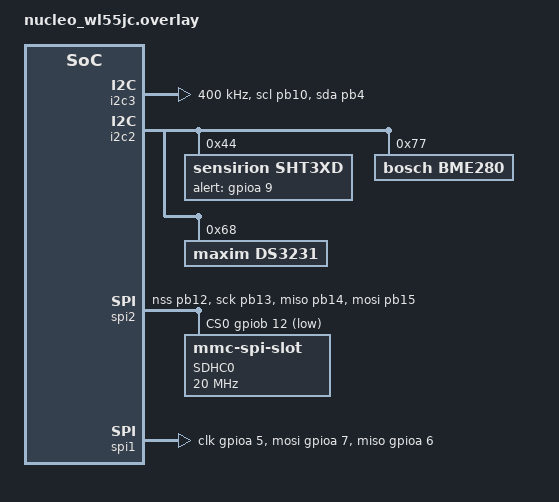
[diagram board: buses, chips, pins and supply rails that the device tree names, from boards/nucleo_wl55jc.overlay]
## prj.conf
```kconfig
CONFIG_HEAP_MEM_POOL_SIZE=8192
CONFIG_MAIN_STACK_SIZE=2048
CONFIG_SYSTEM_WORKQUEUE_STACK_SIZE=2048



CONFIG_LOG=y
CONFIG_SPI=y
CONFIG_SPI_STM32=y

CONFIG_SPI_BITBANG=y

CONFIG_GPIO=y
CONFIG_LORA=y
CONFIG_LORA_SX12XX=y
CONFIG_LORAWAN=y
#CONFIG_LORAMAC_REGION_EU868=y
CONFIG_LORAMAC_REGION_US915=y
CONFIG_MAIN_STACK_SIZE=2048


#CONFIG_NEWLIB_LIBC=y // CRASHES LORA

CONFIG_LOG_DEFAULT_LEVEL=4

CONFIG_STDOUT_CONSOLE=y
CONFIG_CBPRINTF_FP_SUPPORT=y
CONFIG_CBPRINTF_LIBC_SUBSTS=y


CONFIG_I2C=y
CONFIG_SENSOR=y
CONFIG_SHT3XD=y
CONFIG_BME280=y

CONFIG_COUNTER=y
CONFIG_COUNTER_MAXIM_DS3231=y

CONFIG_DISK_ACCESS=y
CONFIG_FILE_SYSTEM=y
CONFIG_FAT_FILESYSTEM_ELM=y
CONFIG_DISK_DRIVER_SDMMC=y


CONFIG_LOG=y



CONFIG_COUNTER_INIT_PRIORITY=65
```

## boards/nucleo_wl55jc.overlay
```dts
// intenta SDA en PC1 (CN10-23) y CLK en PC0 (CN10-14)
&i2c3 {
        pinctrl-names = "default";
	pinctrl-0 = <&i2c3_scl_pb10 &i2c3_sda_pb4>;	
	status = "okay";
	clock-frequency = <I2C_BITRATE_FAST>;
};

&i2c2 {
pinctrl-names = "default";
	sht3xd@44 {
		compatible = "sensirion,sht3xd";
		reg = <0x44>;
		label = "SHT3XD";
		alert-gpios = <&gpioa 9 GPIO_ACTIVE_HIGH>;
	};
	bme280: bme280@77 {
		compatible = "bosch,bme280";
		reg = <0x77>;
		label = "BME280";
	};

        ds3231: ds3231@68 {
		compatible = "maxim,ds3231";
		reg = <0x68>;
		label = "DS3231";
		//isw-gpios = <&gpioe 26 (GPIO_PULL_UP | GPIO_ACTIVE_LOW)>;
	};


};



&spi2 {
        pinctrl-names = "default";
	pinctrl-0 = <&spi2_nss_pb12     // Morpho CN10-33
                     &spi2_sck_pb13     // Morpho CN7-38
		     &spi2_miso_pb14    // Morpho CN7-36
                     &spi2_mosi_pb15>;  // Morpho CN10-28
	status = "okay";

        cs-gpios = <&gpiob 12 GPIO_ACTIVE_LOW>;	// Morpho CN10-33


        sdhc0: sdhc@0 {
            compatible = "zephyr,mmc-spi-slot";
            reg = <0>;
            status = "okay";
            label = "SDHC0";
            spi-max-frequency = <20000000>;
        };

};

&spi1 {
		label = "OPC";
		compatible = "zephyr,spi-bitbang";
		status="okay";
		#address-cells = <1>;
		#size-cells = <0>;
		clk-gpios = <&gpioa 5 GPIO_ACTIVE_HIGH>;
		mosi-gpios = <&gpioa 7 GPIO_ACTIVE_HIGH>;
		miso-gpios = <&gpioa 6 0>;
		cs-gpios = <&gpioa 4 GPIO_ACTIVE_LOW>;
};
```

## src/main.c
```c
/*
 * Class A LoRaWAN AirLab Sensor Application
 *
 * 
 */

#include <device.h>
#include <drivers/sensor.h>

#include <zephyr.h>
#include <drivers/i2c.h>
#include <drivers/display.h>
#include <drivers/rtc/maxim_ds3231.h>
#include <storage/disk_access.h>
#include <fs/fs.h>
#include <ff.h>
#include <lorawan/lorawan.h>
#include <drivers/gpio.h>
#include <drivers/spi.h>
#include <string.h>
#include "file_system.h"
#include "time_system.h"

#include "global_devices.h"
#include "opc.h"
#include "ambient_sensors.h"
#include "gas_sensors.h"



/* size of stack area used by each thread */
#define STACKSIZE 4096
#define DELAY K_MSEC(5000)


/* * * * * * * * * * Logging  * * * * * * * * * * */
#define LOG_LEVEL CONFIG_LOG_DEFAULT_LEVEL
#include <logging/log.h>
LOG_MODULE_REGISTER(main);


/* * * * * * * * * * Global Devices  * * * * * * * * * * */

const struct device *gpiob;
const struct device *gpioa;

/* * * * * * * * * * * * * * * * LEDS  * * * * * * * * * * * * * * */

const struct gpio_dt_spec led_green = GPIO_DT_SPEC_GET(LED1_NODE, gpios);
const struct gpio_dt_spec led_red = GPIO_DT_SPEC_GET(LED2_NODE, gpios);

/* * * * * * * * * * LoRa * * * * * * * * * * */

#define DEFAULT_RADIO_NODE DT_ALIAS(lora0)
BUILD_ASSERT(DT_NODE_HAS_STATUS(DEFAULT_RADIO_NODE, okay),
        "No default LoRa radio specified in DT");
#define DEFAULT_RADIO DT_LABEL(DEFAULT_RADIO_NODE)

/* Customize based on network configuration */

#define LORAWAN_DEV_EUI   { 0x00, 0x80, 0xE1, 0x15, 0x05, 0x00, 0xDD, 0x1F }
#define LORAWAN_JOIN_EUI  { 0x01, 0x01, 0x01, 0x01, 0x01, 0x01, 0x01, 0x01 }
#define LORAWAN_APP_KEY   { 0x2B, 0x7E, 0x15, 0x16, 0x28, 0xAE, 0xD2, 0xA6, 0xAB, 0xF7, 0x15, 0x88, 0x09, 0xCF, 0x4F, 0x3C }



static void dl_callback(uint8_t port, bool data_pending,
        int16_t rssi, int8_t snr,
        uint8_t len, const uint8_t *data);

static void lorwan_datarate_changed(enum lorawan_datarate dr);


/* * * * * * * * * * * * *  LoRa Messages  * * * * * * * * * * * * */
char gas_msg[200];
char opc_msg[200];

/* * * * * * * * * * * * *  LoRa Functions  * * * * * * * * * * * * */

static void dl_callback(uint8_t port, bool data_pending,
        int16_t rssi, int8_t snr,
        uint8_t len, const uint8_t *data) {
    LOG_INF("Downlink Callback: Port %d, Pending %d, RSSI %ddB, SNR %ddBm", port, data_pending, rssi, snr);
    if (data) {
        LOG_INF("IT CONTAINS DATA !!!!!!!!!!!!!!!");
        LOG_HEXDUMP_INF(data, len, "Payload: ");
    }
}

static void lorwan_datarate_changed(enum lorawan_datarate dr) {
    uint8_t unused, max_size;

    lorawan_get_payload_sizes(&unused, &max_size);
    LOG_INF("New Datarate: DR_%d, Max Payload %d", dr, max_size);
}



/*----------------------------------------------------------------------*/
/* - * - * - * - * - * - * - *  THREADS * - * - * - * - * - * - * - * - */
/*----------------------------------------------------------------------*/

/* * * * * * * * THREAD: Count Particles * * * * * * * */

K_THREAD_STACK_DEFINE(count_particles_stack_area, 16384);
struct k_thread count_particles_thread_data;
extern void count_particles() {
    LOG_INF("Count Particles Thread Spawn!");
    ///AMBIENT SENSORS
    /*      0 Humidiy   1 Temperature   2 pressure            */
    float amb_sensors[3];

    amb_sensors[0] = 0;
    amb_sensors[1] = 0;
    amb_sensors[2] = 0;

    char text_data[200];
    struct histogram data;
    while(1) {
        LOG_INF("Counting Particles...");
        gpio_pin_set_dt(&led_red,1);

        opc_init();    
        opc_start();
        data = opc_read_histogram(7);
        opc_stop();
        opc_release();
        
        gpio_pin_set_dt(&led_red,0);
        ambient_sensors_read(1, amb_sensors);
        snprintfcb(text_data, 200, "%s|%0.2f|%0.2f|%0.2f|%0.2f|"
                        "%0.2f|%0.2f|%0.2f|%0.2f\n",
                //get_formatted_time(),
                "0000-00-00 00:00:00",
                data.period,
                data.sfr,
                data.pm1,
                data.pm25,
                data.pm10,
                amb_sensors[0],
                amb_sensors[1],
                amb_sensors[2]);
        strcpy(opc_msg, text_data);
        //LOG_INF("R: %s",text_data);
        save_data(text_data, "opc");
        k_msleep(120000);
    }
}

/* * * * * * * * THREAD: Read Gas & Ambient Sensors * * * * * * * */

K_THREAD_STACK_DEFINE(read_gas_and_ambient_sensors_stack_area, STACKSIZE);
struct k_thread read_gas_and_ambient_sensors_thread_data;
extern void read_gas_and_ambient_sensors() {
    
    LOG_INF("Read Gas Sensors Thread Spawn!");
    LOG_INF("Warming up!");
    k_msleep(10000);
    // AlphaSensors

    
    uint16_t gs[8];
    
    // AMBIENT SENSORS
    /*      0 Humidiy   1 Temperature   2 pressure            */
    float amb_sensors[3];
    amb_sensors[0] = 0;
    amb_sensors[1] = 0;
    amb_sensors[2] = 0;
    char text_data[200];    

    while(1) {
        //LOG_INF("Reading gas sensors...");
        //verificar con el otro sensor el lapso!!!!!!!!!!!
        gas_sensors_read(gs,5);
        ambient_sensors_read(1, amb_sensors);
        snprintfcb(text_data, 200, "%s|%d|%d|%d|"
                "%d|%d|%d|%d|%d|%0.2f|%0.2f|%0.2f\n",
                //get_formatted_time(),
                "0000-00-00 00:00:00",
                gs[0],
                gs[1],
                gs[2],
                gs[3],
                gs[4],
                gs[5],
                gs[6],
                gs[7],
                amb_sensors[0],
                amb_sensors[1],
                amb_sensors[2]);                
        save_data(text_data, "gas");
        strcpy(gas_msg, text_data);
        k_msleep(30000);
    }
}

/* * * * * * * * THREAD: Send Data * * * * * * * */

K_THREAD_STACK_DEFINE(send_data_stack_area, STACKSIZE);
struct k_thread send_data_thread_data;
extern void send_data() {
    

    LOG_INF("LoRaWAN Update Results Thread Spawn!");
    int ret;
    /* * * * * * * * * * * * * LORA * * * * * * * * * * * * * */
    const struct device *lora_dev;
    struct lorawan_join_config join_cfg;
    uint8_t dev_eui[] = LORAWAN_DEV_EUI;
    uint8_t join_eui[] = LORAWAN_JOIN_EUI;
    uint8_t app_key[] = LORAWAN_APP_KEY;


    struct lorawan_downlink_cb downlink_cb = {
        .port = LW_RECV_PORT_ANY,
        .cb = dl_callback
    };

    lora_dev = device_get_binding(DEFAULT_RADIO);
    if (!lora_dev) {
        LOG_ERR("%s Device not found", DEFAULT_RADIO);
        return;
    } else {
        LOG_INF("LoRaWAN Device Found...");
    }


    ret = lorawan_start();
    if (ret < 0) {
        LOG_ERR("lorawan_start failed: %d", ret);
        return;
    } else {
        LOG_INF("LoRaWAN Started...");
    }

    lorawan_register_downlink_callback(&downlink_cb);
    lorawan_register_dr_changed_callback(lorwan_datarate_changed);

    join_cfg.mode = LORAWAN_ACT_OTAA;
    join_cfg.dev_eui = dev_eui;
    join_cfg.otaa.join_eui = join_eui;
    join_cfg.otaa.app_key = app_key;
    join_cfg.otaa.nwk_key = app_key;

    LOG_INF("Joining network over OTAA");
    ret = -1;
    while (ret < 0) {
        ret = lorawan_join(&join_cfg);
        if (ret < 0) {
            gpio_pin_set_dt(&led_red,1);
            LOG_ERR("lorawan_join_network failed: %d", ret);
            k_sleep(K_MSEC(1000));
            gpio_pin_set_dt(&led_red,0);
            k_sleep(K_MSEC(1000));
        } else {
            ret = lorawan_set_datarate(LORAWAN_DR_2);
            if (ret < 0) {
                LOG_ERR("Could not set datarate!");
            }
            LOG_INF("Connected to network over OTAA!");
            
            gpio_pin_set_dt(&led_green,1);
        }
    }

    LOG_INF("Entering Loop...");
    
    while(1) {
        //LOG_INF("Sending data...");
        
        /*
        char test[] = "2022-03";
        LOG_INF("opc_msg=%s", test);
        LOG_INF("mide: %d",strlen(test)); 
        
        char test_opc[] = "2022-03-21 13:37:43|5.01|5.38|0.82|1.14|1.57|29.00|24.55|77.67";
        LOG_INF("opc_msg=%s", test_opc);
        LOG_INF("mide: %d",strlen(test_opc));        
        char test_gas[] = "2022-03-21 12:46:56|255.54|259.55|471.31|451.58|257.24|288.53|237.41|284.27|31.52|24.38|77.77";
        LOG_INF("gas_msg=%s", test_gas);
        LOG_INF("mide: %d",strlen(test_gas));
        */
        
        ret = lorawan_send(1, gas_msg, strlen(gas_msg), LORAWAN_MSG_CONFIRMED);


        /*
         * Note: The stack may return -EAGAIN if the provided data
         * length exceeds the maximum possible one for the region and
         * datarate. But since we are just sending the same data here,
         * we'll just continue.
         */
        if (ret == -EAGAIN) {
            //LOG_ERR("lorawan_send failed: %d. Continuing...", ret);
            k_msleep(2000);
        }

        if (ret < 0) {
            //LOG_ERR("lorawan_send failed: %d", ret);
            //return;
            k_msleep(2000);
        }
        if (ret == 0) {
            LOG_INF("* - * - * - * - * Sensor Data sent! * - * - * - * - * ");
            for (int i=0; i<20; i++) {
                gpio_pin_set_dt(&led_green,1);
                k_msleep(50);
                gpio_pin_set_dt(&led_green,0);
                k_msleep(50);
            }
        }
        
        k_msleep(10000);
        
        ret = lorawan_send(2, opc_msg, strlen(opc_msg), LORAWAN_MSG_CONFIRMED);
        
        if (ret == -EAGAIN) {
            //LOG_ERR("lorawan_send failed: %d. Continuing...", ret);
            k_msleep(2000);
        }

        if (ret < 0) {
            //LOG_ERR("lorawan_send failed: %d", ret);
            //return;
            k_msleep(2000);
        }
        if (ret >= 0) {
            LOG_INF("* - * - * - * - * Sensor Data sent! * - * - * - * - * ");
            for (int i=0; i<20; i++) {
                gpio_pin_set_dt(&led_green,1);
                k_msleep(50);
                gpio_pin_set_dt(&led_green,0);
                k_msleep(50);
            }            
        }
     

        k_msleep(10000);
    }
}



/* * * * * * * * * * * * * * * * * main * * * * * * * * * *  * * * * * * * */

void main(void) {
    
    LOG_INF("* * * * * * LoRaWAN Air Lab * * * * * * ");
    
    int ret;
    
    // System Initialitations
    
    
    //init_time_system();
    init_and_mount_sdcard();
    
    /*
    dev_sht3xd = get_sht3xd_device();
    if (dev_sht3xd == NULL) {
        return;
    }
     */
    
    dev_bme280 = get_bme280_device();
    if (dev_bme280 == NULL) {
        return;
    }
     
    
    gas_sensors_init();
 
            
    //LOG_INF("Date: %s",get_formatted_time());

    
    gpioa = device_get_binding("GPIOA");
    gpiob = device_get_binding("GPIOB");
    
    ret = gpio_pin_configure_dt(&led_green, GPIO_OUTPUT_INACTIVE);
    ret = gpio_pin_configure_dt(&led_red, GPIO_OUTPUT_INACTIVE);
    
    ret = gpio_pin_configure(gpiob, 3, GPIO_OUTPUT_INACTIVE);
    ret = gpio_pin_configure(gpioa, 4, GPIO_OUTPUT_INACTIVE);
    ret = gpio_pin_configure(gpioa, 5, GPIO_OUTPUT_LOW);
    ret = gpio_pin_configure(gpioa, 7, GPIO_OUTPUT_LOW);
    ret = gpio_pin_configure(gpioa, 6, GPIO_INPUT);
    
    gpio_pin_set_dt(&led_green,0);
    gpio_pin_set_dt(&led_red,0);
    
    /* Thread Create: Read Ambient Sensors*/
    k_thread_create(&send_data_thread_data, send_data_stack_area,
                                 K_THREAD_STACK_SIZEOF(send_data_stack_area),
                                 send_data,
                                 NULL, NULL, NULL,
                                 5, 0, K_NO_WAIT);
    
    
    /* Thread Create: Read Gas Sensors*/
    k_thread_create(&read_gas_and_ambient_sensors_thread_data, read_gas_and_ambient_sensors_stack_area,
                                 K_THREAD_STACK_SIZEOF(read_gas_and_ambient_sensors_stack_area),
                                 read_gas_and_ambient_sensors,
                                 NULL, NULL, NULL,
                                 5, 0, K_NO_WAIT);

    
    /* Thread Create: Count Particles*/
    k_thread_create(&count_particles_thread_data, count_particles_stack_area,
                                 K_THREAD_STACK_SIZEOF(count_particles_stack_area),
                                 count_particles,
                                 NULL, NULL, NULL,
                                 5, 0, K_NO_WAIT);    
    
     
    while (1) {
        k_msleep(5);
    }
    
    
    
    
}
```

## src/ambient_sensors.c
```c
/*
 * Click nbfs://nbhost/SystemFileSystem/Templates/Licenses/license-default.txt to change this license
 * Click nbfs://nbhost/SystemFileSystem/Templates/cFiles/file.c to edit this template
 */

/* * * * * * * * * * Sensors Connected to I2C2  * * * * * * * * * * */



#include "ambient_sensors.h"

#include <logging/log.h>
LOG_MODULE_REGISTER(ambient_sensors);

const struct device *dev_sht3xd;
const struct device *dev_bme280;




const struct device *get_bme280_device(void) {
     const struct device *dev = device_get_binding("BME280");

    if (dev == NULL) {
        /* No such node, or the node does not have status "okay". */
        LOG_ERR("\nError: no device BME280 found.\n");
        return NULL;
    }

    if (!device_is_ready(dev)) {
        LOG_ERR("\nError: Device \"%s\" is not ready; "
                "check the driver initialization logs for errors.\n",
                dev->name);
        return NULL;
    }

    LOG_INF("Found device \"%s\", getting sensor data", dev->name);
    return dev;
}

const struct device *get_sht3xd_device(void) {
    const struct device *dev = device_get_binding("SHT3XD");

    if (dev == NULL) {
        /* No such node, or the node does not have status "okay". */
        LOG_ERR("\nError: no device SHT3XD found.\n");
        return NULL;
    }

    if (!device_is_ready(dev)) {
        LOG_ERR("\nError: Device \"%s\" is not ready; "
                "check the driver initialization logs for errors.\n",
                dev->name);
        return NULL;
    }

    LOG_INF("Found device \"%s\", getting sensor data", dev->name);
    return dev;
}


void ambient_sensors_read(uint8_t samples, float *ambientsensor) {
    
    struct sensor_value temp, hum, press;
    
    float sum[3];

    for(int i=0; i<samples; i++) {
        int rc=0;
        /*
        k_msleep(20);
        int rc = sensor_sample_fetch(dev_sht3xd);
        k_msleep(20);

        if (rc == 0) {
            rc = sensor_channel_get(dev_sht3xd, SENSOR_CHAN_AMBIENT_TEMP, &temp);
        }
        if (rc == 0) {
            rc = sensor_channel_get(dev_sht3xd, SENSOR_CHAN_HUMIDITY, &hum);
        }
        if (rc != 0) {
            printf("SHT3XD: failed: %d\n", rc);
            return;
        }
         */
        k_msleep(20);
        rc = sensor_sample_fetch(dev_bme280);
        k_msleep(20);

        if (rc == 0) {
            rc = sensor_channel_get(dev_bme280, SENSOR_CHAN_PRESS, &press);
        }

        if (rc == 0) {
            rc = sensor_channel_get(dev_bme280, SENSOR_CHAN_AMBIENT_TEMP, &temp);
        }
        if (rc == 0) {
            rc = sensor_channel_get(dev_bme280, SENSOR_CHAN_HUMIDITY, &hum);
        }        
        
        if (rc != 0) {
            printf("BME280: failed: %d\n", rc);
            return;
        }
        
        sum[0] = sum[0] + sensor_value_to_double(&hum);
        sum[1] = sum[1] + sensor_value_to_double(&temp);
        sum[2] = sum[2] + sensor_value_to_double(&press);

    }
    
    double div = samples;
    ambientsensor[0] = sum[0]/div;
    ambientsensor[1] = sum[1]/div;
    ambientsensor[2] = sum[2]/div;
    LOG_INF("Humidity:\t %0.2f",ambientsensor[0]);
    LOG_INF("Temperature:\t %0.2f",ambientsensor[1]);
    LOG_INF("Pressure:\t %0.2f",ambientsensor[2]);
    
}
```

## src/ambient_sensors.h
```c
/*
 * Click nbfs://nbhost/SystemFileSystem/Templates/Licenses/license-default.txt to change this license
 * Click nbfs://nbhost/SystemFileSystem/Templates/cFiles/file.h to edit this template
 */

/* 
 * File:   ambient_sensors.h
 * Author: mufufu
 *
 * Created on March 20, 2022, 12:28 PM
 */

#ifndef AMBIENT_SENSORS_H
#define AMBIENT_SENSORS_H

#ifdef __cplusplus
extern "C" {
#endif

    
#include <zephyr.h>
#include <device.h>
#include <drivers/sensor.h>

    
/* * * * * * * * * * Sensors Connected to I2C2  * * * * * * * * * * */

extern const struct device *dev_sht3xd;
extern const struct device *dev_bme280;




const struct device *get_bme280_device(void);
const struct device *get_sht3xd_device(void);

const struct device *get_bme280_device(void);
const struct device *get_sht3xd_device(void);
void ambient_sensors_read(uint8_t samples, float *ambientsensor);


#ifdef __cplusplus
}
#endif

#endif /* AMBIENT_SENSORS_H */
```

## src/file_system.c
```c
/*
 * Click nbfs://nbhost/SystemFileSystem/Templates/Licenses/license-default.txt to change this license
 * Click nbfs://nbhost/SystemFileSystem/Templates/cFiles/file.c to edit this template
 */

#include <string.h>

#include "file_system.h"
#include "time_system.h"

#include <logging/log.h>
LOG_MODULE_REGISTER(file_system);
#include "time_system.h"


static FATFS fat_fs;
/* mounting info */
static struct fs_mount_t mp = {
	.type = FS_FATFS,
	.fs_data = &fat_fs,
};

/*
*  Note the fatfs library is able to mount only strings inside _VOLUME_STRS
*  in ffconf.h
*/
static const char *disk_mount_pt = "/SD:";



/* * * * * * * FILESYSTEM INIT AND MOUNT SD CARD * * * * * * * * * * */

 void init_and_mount_sdcard() {
 
	mp.type = FS_FATFS;
	mp.fs_data = &fat_fs;
        
    do {
            const char *disk_pdrv = "SD";
            uint64_t memory_size_mb;
            uint32_t block_count;
            uint32_t block_size;

            if (disk_access_init(disk_pdrv) != 0) {
                    LOG_ERR("Storage init ERROR!");
                    break;
            }

            if (disk_access_ioctl(disk_pdrv,
                            DISK_IOCTL_GET_SECTOR_COUNT, &block_count)) {
                    LOG_ERR("Unable to get sector count");
                    break;
            }
            LOG_INF("Block count %u", block_count);

            if (disk_access_ioctl(disk_pdrv,
                            DISK_IOCTL_GET_SECTOR_SIZE, &block_size)) {
                    LOG_ERR("Unable to get sector size");
                    break;
            }
            LOG_INF("Sector size %u", block_size);

            memory_size_mb = (uint64_t)block_count * block_size;
            LOG_INF("Memory Size(MB) %u", (uint32_t)(memory_size_mb >> 20));
    } while (0);
    
    
    // Mount Filesystem 
    
    mp.mnt_point = disk_mount_pt;
    int res = fs_mount(&mp);

    if (res == FR_OK) {
            LOG_INF("Disk mounted.");
            lsdir(disk_mount_pt);
    } else {
            LOG_ERR("Error mounting disk.");
    } 
    
    

    
    
                    
          
}

/* * * * * * * * Save data to SD CARD * * * * * * * * * */
 void save_data(char* data, char* type) {
     
    LOG_INF("Saving data...");
    
    

    
    
    char fname[40];
    
    //snprintfcb(fname, 40, "/SD:/%s.%s", get_date(), type);
    snprintfcb(fname, 40, "/SD:/0000.%s", type);

        struct fs_file_t file;
        fs_file_t_init(&file);
        LOG_INF("Attemting to write to file: %s",fname);
        int rc = fs_open(&file, fname, FS_O_CREATE | FS_O_APPEND | FS_O_RDWR);
        if (rc < 0) {
                LOG_ERR("FAIL: open file to write: %d", rc);
        }
        rc = fs_write(&file, data, strlen(data));

        if (rc < 0) {
                LOG_ERR("FAIL: cannot write: %d\n", rc);
                k_msleep(500);
        } else {

            LOG_INF(" **** fs_write wrote %d bytes ****",rc);

        }
        fs_close(&file);

 
 }

/* * * * * * * * List Dir Contents * * * * * * * * * */

 int lsdir(const char *path)
{
	int res;
	struct fs_dir_t dirp;
	static struct fs_dirent entry;

	fs_dir_t_init(&dirp);

	/* Verify fs_opendir() */
	res = fs_opendir(&dirp, path);
	if (res) {
		LOG_ERR("Error opening dir %s [%d]", path, res);
		return res;
	}

	LOG_INF("\nListing dir %s ...", path);
	for (;;) {
		/* Verify fs_readdir() */
		res = fs_readdir(&dirp, &entry);

		/* entry.name[0] == 0 means end-of-dir */
		if (res || entry.name[0] == 0) {
			break;
		}

		if (entry.type == FS_DIR_ENTRY_DIR) {
			LOG_INF("[DIR ] %s", entry.name);
		} else {
			LOG_INF("[FILE] %s (size = %zu)",
				entry.name, entry.size);
		}
	}

	/* Verify fs_closedir() */
	fs_closedir(&dirp);

	return res;
}
```

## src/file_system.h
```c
/*
 * Click nbfs://nbhost/SystemFileSystem/Templates/Licenses/license-default.txt to change this license
 * Click nbfs://nbhost/SystemFileSystem/Templates/cFiles/file.h to edit this template
 */

/* 
 * File:   files.h
 * Author: mufufu
 *
 * Created on March 16, 2022, 6:55 PM
 */

#ifndef FILES_H
#define FILES_H

#ifdef __cplusplus
extern "C" {
#endif

#include <zephyr.h>
#include <device.h>
#include <storage/disk_access.h>
#include <fs/fs.h>
#include <ff.h>
#include <string.h>
    


    

/* * * * * * * * * SD CARD Functions * * * * * * * * * */

 void init_and_mount_sdcard();
 void save_data(char* data, char* type);
 int lsdir(const char *path);

#ifdef __cplusplus
}
#endif

#endif /* FILES_H */
```

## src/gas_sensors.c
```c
/*
 * Click nbfs://nbhost/SystemFileSystem/Templates/Licenses/license-default.txt to change this license
 * Click nbfs://nbhost/SystemFileSystem/Templates/cFiles/file.c to edit this template
 */


#include "gas_sensors.h"

#include <logging/log.h>
LOG_MODULE_REGISTER(gas_sensors);


const struct device *i2c3_dev;




void gas_sensors_init() {
     
    /* * * * * * * * * * * * * i2c3 Device * * * * * * * * * * * * * */
    uint32_t i2c3_cfg = I2C_SPEED_SET(I2C_SPEED_FAST) | I2C_MODE_MASTER;

    LOG_INF("Initializing I2C 3...");
    i2c3_dev = device_get_binding("I2C_3");
    if (!i2c3_dev) {
        LOG_INF("I2C3: Device driver not found.");
        return;
    }

    if (i2c_configure(i2c3_dev, i2c3_cfg)) {
        LOG_ERR("I2C3 config failed");
    } else {
        LOG_INF("i2c3 configured...");
    }

}




void gas_sensors_read(uint16_t *result, int samples) {

    //float voltageConv = 6114 / 32768.0;
    int ret;

    uint8_t cmd[3];
    uint8_t readbuf[2];
    uint16_t reading;
    uint8_t addr;

    /* * * * * * * * * * * Query Alphasensors * * * * * * * * * * * */

    for (int s=0; s < samples; s++) {
        
        addr = 0x48;
        for (int i = 0; i < 4; i++) {
            cmd[0] = 0x01;
            switch (i) {
                case(0):
                    cmd[1] = 0xC1;
                    break;
                case(1):
                    cmd[1] = 0xD1;
                    break;
                case(2):
                    cmd[1] = 0xE1;
                    break;
                case(3):
                    cmd[1] = 0xF1;
                    break;
            }

            cmd[2] = 0x83;
            ret = i2c_write(i2c3_dev, cmd, 3, addr);
            k_msleep(10);

            cmd[0] = 0x00;
            ret = i2c_write(i2c3_dev, cmd, 1, addr);
            k_msleep(10);

            ret = i2c_read(i2c3_dev, readbuf, 2, addr);
            k_msleep(20);

            reading = (readbuf[0] << 8 | readbuf[1]);

            //result[i] = result[i] + (reading * voltageConv);
            if (reading > 10000) {
                reading=0;
            }
            result[i] = reading;
        }
        k_msleep(10);

        addr = 0x49;
        for (int i = 0; i < 4; i++) {
            cmd[0] = 0x01;
            switch (i) {
                case(0):
                    cmd[1] = 0xC1;
                    break;
                case(1):
                    cmd[1] = 0xD1;
                    break;
                case(2):
                    cmd[1] = 0xE1;
                    break;
                case(3):
                    cmd[1] = 0xF1;
                    break;
            }

            cmd[2] = 0x83;
            ret = i2c_write(i2c3_dev, cmd, 3, addr);
            k_msleep(10);

            cmd[0] = 0x00;
            ret = i2c_write(i2c3_dev, cmd, 1, addr);
            k_msleep(10);

            ret = i2c_read(i2c3_dev, readbuf, 2, addr);
            k_msleep(20);

            reading = (readbuf[0] << 8 | readbuf[1]);

            //result[i + 4] = result[i + 4] + (reading * voltageConv);
            if (reading > 10000) {
                reading=0;
            }
            result[i + 4] = reading;

        }
        k_msleep(1000);
    }
    
    for (int i=0; i< 8; i++) {
        result[i] = result[i]/samples;
    }
    
            LOG_INF("Gas Sensors:");
            LOG_INF("SO2   we: %d   ae: %d", result[0], result[1]);
            LOG_INF("O3N2  we: %d   ae: %d", result[2], result[3]);
            LOG_INF("NO2   we: %d   ae: %d", result[4], result[5]);
            LOG_INF("CO    we: %d   ae: %d", result[6], result[7]); 

}
```

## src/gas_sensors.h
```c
/*
 * Click nbfs://nbhost/SystemFileSystem/Templates/Licenses/license-default.txt to change this license
 * Click nbfs://nbhost/SystemFileSystem/Templates/cFiles/file.h to edit this template
 */

/* 
 * File:   gas_sensors.h
 * Author: mufufu
 *
 * Created on March 20, 2022, 1:19 PM
 */

#ifndef GAS_SENSORS_H
#define GAS_SENSORS_H

#ifdef __cplusplus
extern "C" {
#endif

#include <device.h>
#include <zephyr.h>
#include <drivers/i2c.h>
    
    
/* * * * * * * * I2C3 (ADS Converters to GAS Sensors  * * * * * * * */

extern const struct device *i2c3_dev;


void gas_sensors_init();
void gas_sensors_read(uint16_t *result, int samples);

#ifdef __cplusplus
}
#endif

#endif /* GAS_SENSORS_H */
```

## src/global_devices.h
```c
/*
 * Click nbfs://nbhost/SystemFileSystem/Templates/Licenses/license-default.txt to change this license
 * Click nbfs://nbhost/SystemFileSystem/Templates/cFiles/file.h to edit this template
 */

/* 
 * File:   global_devices.h
 * Author: mufufu
 *
 * Created on March 17, 2022, 10:15 AM
 */

#ifndef GLOBAL_DEVICES_H
#define GLOBAL_DEVICES_H

#ifdef __cplusplus
extern "C" {
#endif

/* * * * * * * * * * Global Devices  * * * * * * * * * * */

extern const struct device *gpiob;
extern const struct device *gpioa;


/* * * * * * * * * * LEDS  * * * * * * * * * * */


#define LED1_NODE DT_ALIAS(led1)
#define LED2_NODE DT_ALIAS(led2)

extern const struct gpio_dt_spec led_green;
extern const struct gpio_dt_spec led_red;



#ifdef __cplusplus
}
#endif

#endif /* GLOBAL_DEVICES_H */
```

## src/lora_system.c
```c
/*
 * Click nbfs://nbhost/SystemFileSystem/Templates/Licenses/license-default.txt to change this license
 * Click nbfs://nbhost/SystemFileSystem/Templates/cFiles/file.c to edit this template
 */


#include <logging/log.h>
LOG_MODULE_REGISTER(lora_system);

#include "lora_system.h"



static void dl_callback(uint8_t port, bool data_pending,
        int16_t rssi, int8_t snr,
        uint8_t len, const uint8_t *data) {
    LOG_INF("Downlink Callback: Port %d, Pending %d, RSSI %ddB, SNR %ddBm", port, data_pending, rssi, snr);
    if (data) {
        LOG_INF("IT CONTAINS DATA !!!!!!!!!!!!!!!");
        LOG_HEXDUMP_INF(data, len, "Payload: ");
    }
}

static void lorwan_datarate_changed(enum lorawan_datarate dr) {
    uint8_t unused, max_size;

    lorawan_get_payload_sizes(&unused, &max_size);
    LOG_INF("New Datarate: DR_%d, Max Payload %d", dr, max_size);
}
```

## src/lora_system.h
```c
/*
 * Click nbfs://nbhost/SystemFileSystem/Templates/Licenses/license-default.txt to change this license
 * Click nbfs://nbhost/SystemFileSystem/Templates/cFiles/file.h to edit this template
 */

/* 
 * File:   lorawan.h
 * Author: mufufu
 *
 * Created on March 17, 2022, 1:12 PM
 */

#ifndef LORAWAN_H
#define LORAWAN_H

#ifdef __cplusplus
extern "C" {
#endif

#include <lorawan/lorawan.h>
    
    
/* * * * * * * * * * LoRa * * * * * * * * * * */

#define DEFAULT_RADIO_NODE DT_ALIAS(lora0)
BUILD_ASSERT(DT_NODE_HAS_STATUS(DEFAULT_RADIO_NODE, okay),
        "No default LoRa radio specified in DT");
#define DEFAULT_RADIO DT_LABEL(DEFAULT_RADIO_NODE)

/* Customize based on network configuration */
#define LORAWAN_DEV_EUI   { 0x00, 0x80, 0xE1, 0x15, 0x05, 0x00, 0xDD, 0x1F }
#define LORAWAN_JOIN_EUI  { 0x01, 0x01, 0x01, 0x01, 0x01, 0x01, 0x01, 0x01 }
#define LORAWAN_APP_KEY   { 0x2B, 0x7E, 0x15, 0x16, 0x28, 0xAE, 0xD2, 0xA6, 0xAB, 0xF7, 0x15, 0x88, 0x09, 0xCF, 0x4F, 0x3C }



static void dl_callback(uint8_t port, bool data_pending,
        int16_t rssi, int8_t snr,
        uint8_t len, const uint8_t *data);

static void lorwan_datarate_changed(enum lorawan_datarate dr);

#ifdef __cplusplus
}
#endif

#endif /* LORAWAN_H */
```

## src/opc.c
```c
/*
 * Click nbfs://nbhost/SystemFileSystem/Templates/Licenses/license-default.txt to change this license
 * Click nbfs://nbhost/SystemFileSystem/Templates/cFiles/file.c to edit this template
 */



#include "opc.h"
#include "global_devices.h"

#include <logging/log.h>
LOG_MODULE_REGISTER(opc);

// How many samples to skip in result
#define SKIP 2


const struct device *spi;



struct spi_cs_control *ctrl;
struct spi_config spi_cfg;
    
void opc_release() {
    uint8_t r;
    r = spi_release(spi, NULL);
    if (r == 0) {
        LOG_INF("SPI Released!");
    }
    r = gpio_pin_configure(gpioa, 7, GPIO_OUTPUT_LOW);
    r = gpio_pin_configure(gpioa, 5, GPIO_OUTPUT_LOW);
    r = gpio_pin_configure(gpioa, 6, GPIO_INPUT);
    r = gpio_pin_configure(gpioa, 4, GPIO_OUTPUT_LOW);
    
    
    
    gpio_pin_set(gpiob,4,0);
    gpio_pin_set(gpiob,7,0);
    //gpio_pin_set(gpiob,6,0);     // MISO (input line)
    gpio_pin_set(gpiob,5,0);
}    
void opc_init() {
    
   // Set up configuration structures for SPI
    
    /*   
    struct spi_cs_control *ctrl =
                &(struct spi_cs_control) {
                        .gpio_dev = device_get_binding("GPIOA"),
                        //.gpio_dev = device_get_binding("GPIO_0"),
                        .delay = 2,
                        .gpio_pin = 4,
                        //.gpio_pin = 19,
                        .gpio_dt_flags = GPIO_ACTIVE_LOW
    };
    */ 

    
    spi_cfg.frequency = 500000U;
    spi_cfg.operation = SPI_WORD_SET(8) | SPI_TRANSFER_MSB | 
            SPI_OP_MODE_MASTER | SPI_MODE_CPHA;

    
    spi = device_get_binding("OPC");

    if (spi == NULL) {
        /* No such node, or the node does not have status "okay". */
        LOG_ERR("Error: no device SPI found.");

    }
    
}
uint16_t to_16bit_int(uint8_t LSB, uint8_t MSB)
{
  // Combine two bytes into a 16-bit unsigned int
  return ((MSB << 8) | LSB);
}

float calculate_float(uint8_t val0, uint8_t val1, uint8_t val2, uint8_t val3)
{
  // Return an IEEE754 float from an array of 4 bytes
  union u_tag {
    uint8_t b[4];
    float val;
  } u;

  u.b[0] = val0;
  u.b[1] = val1;
  u.b[2] = val2;
  u.b[3] = val3;

  return u.val;
}

uint32_t to_32bit_int(uint8_t val0, uint8_t val1, uint8_t val2, uint8_t val3)
{
  // Return a 32-bit unsigned int from 4 bytes
  return ((val3 << 24) | (val2 << 16) | (val1 << 8) | val0);
}

uint8_t opc_send_command(uint8_t cmd) {
    
 
    
    uint8_t tx_buf[1];
    uint8_t rx_buf[1];
    struct spi_buf spi_buf_tx[] = {{.buf = tx_buf,.len = sizeof(tx_buf)},};
    struct spi_buf spi_buf_rx[] = {{.buf = rx_buf,.len = sizeof(rx_buf)},};
    struct spi_buf_set tx = {.buffers = spi_buf_tx,.count = 1};
    struct spi_buf_set rx = {.buffers = spi_buf_rx,.count = 1};
    
    tx_buf[0] = cmd;
    
    gpio_pin_set(gpioa,4,0);
    k_usleep(4);
    spi_transceive(spi, &spi_cfg, &tx, &rx);
    k_usleep(4);
    gpio_pin_set(gpioa,4,1);                
    LOG_INF("Sent %d, received: %d",cmd,rx_buf[0]);
    return rx_buf[0];
}


/* * * * * * * * * Start OPC * * * * * * * * * */

void opc_start() {
    LOG_INF("*** STARTING OPC ***");
    // Switch on the relay
    for (int t=3; t>0; t--) {
        LOG_INF("Switching the relay ON in %d",t);
        k_msleep(1000);
    }    
    gpio_pin_set(gpiob,3,1);
    
    uint8_t r1 = 0;
    uint8_t r2 = 0;
    
    uint8_t c = 0; 

    for (int t=3; t>0; t--) {
        LOG_INF("Sending ON Sequence in %d:",t);
        k_msleep(1000);
    }
    // Iterate until 243 (ready)
    while(1) {

        r1 = opc_send_command(0x03);
        k_msleep(10);
        r2 = opc_send_command(0x00);
        

        if (r1 == 243 && r2 == 3) {
                LOG_INF("**** Received 0xF3 and 0x03 :: OPC Unit is ready for start sequence...");
                break;
        }
        if (r1 == 49) {
                LOG_INF("Received busy status from OP");

        }		
        k_msleep(1000);

        if (c == 10) {
                LOG_INF("Waiting 5s for OPC's buffer to reset");
                k_msleep(5000);	
        }
        if (c > 20) {
                LOG_INF("power cycle...");
                gpio_pin_set(gpiob,3,0);
                gpio_pin_set(gpiob,4,0);
                gpio_pin_set(gpiob,7,0);
                //gpio_pin_set(gpiob,6,0);     // MISO (input line)
                gpio_pin_set(gpiob,5,0);
                k_msleep(8000);
                gpio_pin_set(gpiob,3,1);
                c=0;
        }				
        c++;
    }

    k_msleep(5000);    
}

void opc_stop() {
    LOG_INF("*** SHUTTING DOWN OPC ***");
    // Switch on the relay
    for (int t=3; t>0; t--) {
        LOG_INF("Switching the relay OFF in %d",t);
        k_msleep(1000);
    }    
    gpio_pin_set(gpiob,3,1);
    
    uint8_t r1 = 0;
    uint8_t r2 = 0;
    
    uint8_t c = 0; 

    for (int t=3; t>0; t--) {
        LOG_INF("Sending OFF Sequence in %d:",t);
        k_msleep(1000);
    }
    // Iterate until 243 (ready)
    while(1) {

        r1 = opc_send_command(0x03);
        k_msleep(10);
        r2 = opc_send_command(0x01);
        

        if (r1 == 243 && r2 == 3) {
                LOG_INF("**** Received 0xF3 and 0x03 :: "
                        "OPC Unit is ready for shutdown sequence...");
                break;
        }
        if (r1 == 49) {
                LOG_INF("Received busy status from OP");

        }		
        k_msleep(600);

        if (c == 10) {
                LOG_INF("Waiting 5s for OPC's buffer to reset");
                k_msleep(5000);	
        }
        if (c > 20) {
            LOG_INF("Couldn't confirm off command status");
            break;
        }				
        c++;
    }
    k_msleep(2000);
    gpio_pin_set(gpiob,3,0);
    gpio_pin_set(gpiob,4,0);
    gpio_pin_set(gpiob,7,0);
    gpio_pin_set(gpiob,6,0);    
    gpio_pin_set(gpiob,5,0);
}

/* * * * * * * * * Read Information String * * * * * * * * * */

void opc_read_information_string() {
    
    uint8_t r = 0;
    uint8_t tx_buf[1];
    uint8_t rx_buf[1];
    struct spi_buf spi_buf_tx[] = {{.buf = tx_buf,.len = sizeof(tx_buf)},};
    struct spi_buf spi_buf_rx[] = {{.buf = rx_buf,.len = sizeof(rx_buf)},};
    struct spi_buf_set tx = {.buffers = spi_buf_tx,.count = 1};
    struct spi_buf_set rx = {.buffers = spi_buf_rx,.count = 1};    
    uint8_t vals[61];
    

    r = opc_send_command(0x3F);
    k_msleep(3000);
    
    if (r == 243) {
        LOG_INF("Information String is READY!!!!");       
        gpio_pin_set(gpioa,4,0);
        for (int i=0; i<60; i++) {
            tx_buf[0] = 0x00;
            spi_transceive(spi, &spi_cfg, &tx, &rx);
            //printk("val: %d",rx_buf[0]);
            vals[i] = rx_buf[0];

        }
        gpio_pin_set(gpioa,4,1);        
    }
    //LOG_HEXDUMP_INF(vals, 61, "Information String: ");    
    
}



/* * * * * * * * * Read Histogram * * * * * * * * * */

struct histogram opc_read_histogram(uint8_t samples) {
    
    uint8_t r = 0;
  
    struct histogram data, result;

    data.pm1  = 0;
    data.pm25 = 0;
    data.pm10 = 0;
    data.sfr = 0;
    data.period = 0;
    data.temp_pressure = 0;
    
    result.pm1  = 0;
    result.pm25 = 0;
    result.pm10 = 0;
    result.sfr = 0;
    result.period = 0;
    result.temp_pressure = 0;

    for (uint8_t s=0; s<samples; s++) {
        LOG_INF("READING SAMPLE %d",s);
        r = opc_send_command(0x30);
        k_msleep(12);

        uint8_t tx_buf[1];
        uint8_t rx_buf[1];
        struct spi_buf spi_buf_tx[] = {{.buf = tx_buf,.len = sizeof(tx_buf)},};
        struct spi_buf spi_buf_rx[] = {{.buf = rx_buf,.len = sizeof(rx_buf)},};
        struct spi_buf_set tx = {.buffers = spi_buf_tx,.count = 1};
        struct spi_buf_set rx = {.buffers = spi_buf_rx,.count = 1};

        uint8_t vals[62];

        if (r == 243) {
            LOG_INF("Histogram %d is READY!!!!",s);

            gpio_pin_set(gpioa,4,0);
            
            k_usleep(6);
            for (int i=0; i<62; i++) {
                tx_buf[0] = 0xC0;
                spi_transceive(spi, &spi_cfg, &tx, &rx);
                //printk("val: %d",rx_buf[0]);
                vals[i] = rx_buf[0];

            }
            k_usleep(6);
            gpio_pin_set(gpioa,4,1);

        }
        //LOG_HEXDUMP_INF(vals, 62, "Histogram: ");


        data.period = calculate_float(vals[44], vals[45], vals[46], vals[47]);
        data.sfr    = calculate_float(vals[36], vals[37], vals[38], vals[39]);

        // If convert_to_conc = True, convert from raw data to concentration

        bool convert_to_conc = true;
        double conv;

        if ( convert_to_conc != true ) {
            conv = 1.0;
        }
        else {
            conv = data.sfr * data.period;
        }

        // Calculate all of the values!
        data.bin0   = (double)to_16bit_int(vals[0], vals[1]) / conv;
        data.bin1   = (double)to_16bit_int(vals[2], vals[3]) / conv;
        data.bin2   = (double)to_16bit_int(vals[4], vals[5]) / conv;
        data.bin3   = (double)to_16bit_int(vals[6], vals[7]) / conv;
        data.bin4   = (double)to_16bit_int(vals[8], vals[9]) / conv;
        data.bin5   = (double)to_16bit_int(vals[10], vals[11]) / conv;
        data.bin6   = (double)to_16bit_int(vals[12], vals[13]) / conv;
        data.bin7   = (double)to_16bit_int(vals[14], vals[15]) / conv;
        data.bin8   = (double)to_16bit_int(vals[16], vals[17]) / conv;
        data.bin9   = (double)to_16bit_int(vals[18], vals[19]) / conv;
        data.bin10  = (double)to_16bit_int(vals[20], vals[21]) / conv;
        data.bin11  = (double)to_16bit_int(vals[22], vals[23]) / conv;
        data.bin12  = (double)to_16bit_int(vals[24], vals[25]) / conv;
        data.bin13  = (double)to_16bit_int(vals[26], vals[27]) / conv;
        data.bin14  = (double)to_16bit_int(vals[28], vals[29]) / conv;
        data.bin15  = (double)to_16bit_int(vals[30], vals[31]) / conv;

        data.bin1MToF = vals[32] / 3.0;
        data.bin3MToF = vals[33] / 3.0;
        data.bin5MToF = vals[34] / 3.0;
        data.bin7MToF = vals[35] / 3.0;    

        data.temp_pressure = to_32bit_int(vals[40], vals[41], vals[42], vals[43]);
        data.checksum = to_16bit_int(vals[48], vals[49]);

        data.pm1 =  calculate_float(vals[50], vals[51], vals[52], vals[53]);
        data.pm25 = calculate_float(vals[54], vals[55], vals[56], vals[57]);
        data.pm10 = calculate_float(vals[58], vals[59], vals[60], vals[61]);
        
        uint8_t testpm10[4];
        testpm10[0] = vals[58];
        testpm10[1] = vals[59];
        testpm10[2] = vals[60];
        testpm10[3] = vals[61];
        
        uint8_t testpm25[4];
        testpm25[0] = vals[54];
        testpm25[1] = vals[55];
        testpm25[2] = vals[56];
        testpm25[3] = vals[57];        
        
        //LOG_HEXDUMP_INF(testpm10, 4, "PM10 Bytes: ");
        //LOG_HEXDUMP_INF(testpm25, 4, "PM25 Bytes: ");
        
        char fperiod[40];
        snprintfcb(fperiod, 40, "%0.2f", data.period);
        char fpm1[40];
        snprintfcb(fpm1, 40, "%0.2f", data.pm1);
        char fpm25[40];
        snprintfcb(fpm25, 40, "%0.2f", data.pm25);
        char fpm10[40];
        snprintfcb(fpm10, 40, "%0.2f", data.pm10);
        char fflowrate[40];
        snprintfcb(fflowrate, 40, "%0.2f", data.sfr);

        LOG_INF("Sampling Period: %s", fperiod);
        LOG_INF("Sample Flow Rate: %s",fflowrate);
        LOG_INF("PM1: %s", fpm1);
        LOG_INF("PM2.5: %s", fpm25);
        LOG_INF("PM10: %s", fpm10);
        
        if (s > (SKIP-1)) {
            result.pm1  = result.pm1 + data.pm1;
            result.pm10 = result.pm10 + data.pm10;
            result.pm25 = result.pm25 + data.pm25;
            result.period = result.period + data.period;
            result.sfr = result.sfr + data.sfr;
        }
        k_msleep(5000);
    }
    
    //LOG_INF("Calculating OPC data average");
    // Calculate Average
    float div = samples-SKIP;
    //LOG_INF("Dividing %0.2f over %d",result.pm10, samples-SKIP);
    result.pm1 = result.pm1 / div;
    result.pm25 = result.pm25 / div;
    result.pm10 = result.pm10 / div;
    result.period = result.period / div;
    result.sfr = result.sfr / div;
    LOG_INF("Returning OPC read result...");
    
    return result;
}
```

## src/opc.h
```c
/*
 * Click nbfs://nbhost/SystemFileSystem/Templates/Licenses/license-default.txt to change this license
 * Click nbfs://nbhost/SystemFileSystem/Templates/cFiles/file.h to edit this template
 */

/* 
 * File:   opc.h
 * Author: mufufu
 *
 * Created on March 17, 2022, 10:05 AM
 */

#ifndef OPC_H
#define OPC_H

#ifdef __cplusplus
extern "C" {
#endif

#include <zephyr.h>
#include <drivers/gpio.h>
#include <drivers/spi.h>
    


    
    
struct histogram {
    double bin0;
    double bin1;
    double bin2;
    double bin3;
    double bin4;
    double bin5;
    double bin6;
    double bin7;
    double bin8;
    double bin9;
    double bin10;
    double bin11;
    double bin12;
    double bin13;
    double bin14;
    double bin15;

    // Mass Time-of-Flight
    float bin1MToF;
    float bin3MToF;
    float bin5MToF;
    float bin7MToF;

    // Sample Flow Rate
    float sfr;

    // Either the Temperature or Pressure
    unsigned long temp_pressure;

    // Sampling Period
    float period;

    // Checksum
    unsigned int checksum;

    float pm1;
    float pm25;
    float pm10;
};

struct PMData {
  float pm1;
  float pm25;
  float pm10;
};

struct ConfigVars {
    // Bin Boundaries
    int bb0;
    int bb1;
    int bb2;
    int bb3;
    int bb4;
    int bb5;
    int bb6;
    int bb7;
    int bb8;
    int bb9;
    int bb10;
    int bb11;
    int bb12;
    int bb13;
    int bb14;

    // Bin Particle Volume (floats)
    float bpv0;
    float bpv1;
    float bpv2;
    float bpv3;
    float bpv4;
    float bpv5;
    float bpv6;
    float bpv7;
    float bpv8;
    float bpv9;
    float bpv10;
    float bpv11;
    float bpv12;
    float bpv13;
    float bpv14;
    float bpv15;

    // Bin Particle Densities (floats)
    float bpd0;
    float bpd1;
    float bpd2;
    float bpd3;
    float bpd4;
    float bpd5;
    float bpd6;
    float bpd7;
    float bpd8;
    float bpd9;
    float bpd10;
    float bpd11;
    float bpd12;
    float bpd13;
    float bpd14;
    float bpd15;

    // Bin Sample Volume Weightings (floats)
    float bsvw0;
    float bsvw1;
    float bsvw2;
    float bsvw3;
    float bsvw4;
    float bsvw5;
    float bsvw6;
    float bsvw7;
    float bsvw8;
    float bsvw9;
    float bsvw10;
    float bsvw11;
    float bsvw12;
    float bsvw13;
    float bsvw14;
    float bsvw15;

    // Gain Scaling Coefficient
    float gsc;

    // Sample Flow Rate (ml/s)
    float sfr;

    // LaserDAC 8 bit int
    unsigned int laser_dac;
    unsigned int fan_dac;

    // Time of Flight to Sample Flow Rate Conversion Factor
    unsigned int tof_sfr;
};

struct ConfigVars2 {
  int AMSamplingInterval;
  int AMIntervalCount;
  int AMFanOnIdle;
  int AMLaserOnIdle;
  int AMMaxDataArraysInFile;
  int AMOnlySavePMData;
};

void opc_release();
void opc_start();
void opc_stop();
void opc_init();    
struct histogram opc_read_histogram(uint8_t samples);
void opc_read_information_string();


#ifdef __cplusplus
}
#endif

#endif /* OPC_H */
```

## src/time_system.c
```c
/*
 * Click nbfs://nbhost/SystemFileSystem/Templates/Licenses/license-default.txt to change this license
 * Click nbfs://nbhost/SystemFileSystem/Templates/cFiles/file.c to edit this template
 */

// Clock Functions and Data Types



#include <logging/log.h>
LOG_MODULE_REGISTER(time_system);

#include "time_system.h"


const struct device *i2c2_dev;

const struct device *dev_ds3231;



/* * * * * * * * * Time Functions * * * * * * * * * */


static const struct device *get_ds3231_device(void) {
    const struct device *dev = device_get_binding("DS3231");
	
    if (dev == NULL) {
        /* No such node, or the node does not have status "okay". */
        LOG_ERR("\nError: no device DS3231 found.\n");
        return NULL;
    }
    
    if (!device_is_ready(dev)) {
        LOG_ERR("\nError: Device \"%s\" is not ready; "
                "check the driver initialization logs for errors.\n",
                dev->name);
        return NULL;
    }

    LOG_INF("Found device \"%s\", getting sensor data", dev->name);
    return dev;
}        

void init_time_system() {
    
    dev_ds3231 = get_ds3231_device();
    if (dev_ds3231 == NULL) {
        return;
    }

    uint32_t i2c2_cfg = I2C_SPEED_SET(I2C_SPEED_FAST) | I2C_MODE_MASTER;

    LOG_INF("Initializing I2C 2...");
    i2c2_dev = device_get_binding("I2C_2");
    if (!i2c2_dev) {
        LOG_INF("I2C2: Device driver not found.");
        return;
    }

    if (i2c_configure(i2c2_dev, i2c2_cfg)) {
        LOG_ERR("I2C2 config failed");
    } else {
        LOG_INF("i2c2 configured...");
    }    
    
}

/* GET FORMATTED TIME */

char* get_formatted_time() {
          
    uint32_t syncclock_Hz = maxim_ds3231_syncclock_frequency(dev_ds3231);
    uint32_t syncclock = maxim_ds3231_read_syncclock(dev_ds3231);
    uint32_t now = 0;
    int rc = counter_get_value(dev_ds3231, &now);
    if (rc < 0) {
        LOG_ERR("Can't get the counter value");
    } else {
        //LOG_INF("Counter returns: %d",now);
    }
    struct maxim_ds3231_syncpoint sp = {
        .rtc =
        {
            .tv_sec = now,
            .tv_nsec = (uint64_t) NSEC_PER_SEC * syncclock / syncclock_Hz,
        },
        .syncclock = syncclock,
    };
    //LOG_INF("Counter returns: %d, %d, %d",sp.rtc.tv_sec, sp.rtc.tv_nsec, syncclock);
    return format_time(sp.rtc.tv_sec, sp.rtc.tv_nsec);
}
char *format_time(time_t time, long nsec) {
    static char buf[64];
    char *bp = buf;
    char *const bpe = bp + sizeof (buf);
    struct tm tv;
    struct tm *tp = gmtime_r(&time, &tv);

    bp += strftime(bp, bpe - bp, "%Y-%m-%d %H:%M:%S", tp);
    /*
    if (nsec >= 0) {
        bp += snprintf(bp, bpe - bp, ".%09lu", nsec);
    }
    bp += strftime(bp, bpe - bp, " %a %j", tp);
    */
    return buf;
}

char *format_date(time_t time, long nsec) {
    static char buf[64];
    char *bp = buf;
    char *const bpe = bp + sizeof (buf);
    struct tm tv;
    struct tm *tp = gmtime_r(&time, &tv);
    bp += strftime(bp, bpe - bp, "%Y%m%d", tp);
    return buf;
}

char *get_date() {
    // get time
    uint32_t syncclock_Hz = maxim_ds3231_syncclock_frequency(dev_ds3231);
    uint32_t syncclock = maxim_ds3231_read_syncclock(dev_ds3231);
    uint32_t now = 0;
    int rc = counter_get_value(dev_ds3231, &now);
    if (rc < 0) {
        LOG_ERR("Can't get the counter value");
    }
    struct maxim_ds3231_syncpoint sp = {
        .rtc =
        {
            .tv_sec = now,
            .tv_nsec = (uint64_t) NSEC_PER_SEC * syncclock / syncclock_Hz,
        },
        .syncclock = syncclock,
    };
    return format_date(sp.rtc.tv_sec, sp.rtc.tv_nsec);
}
```
